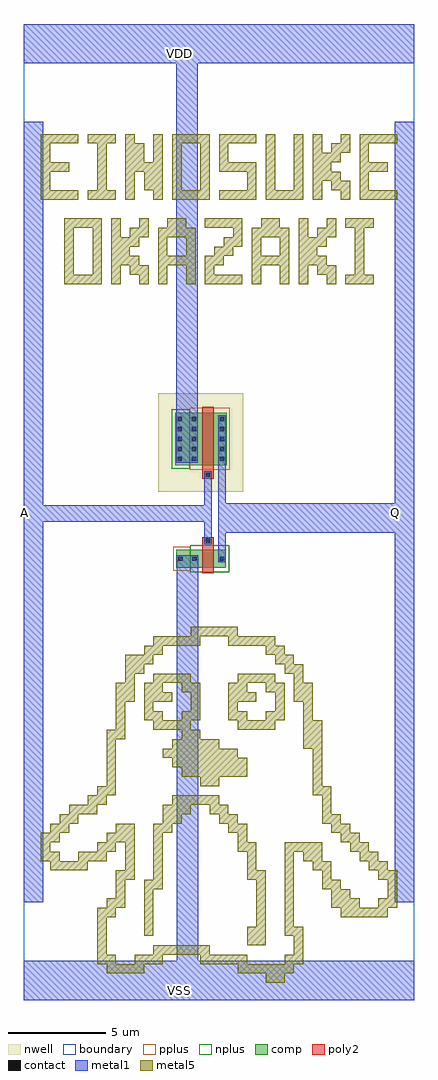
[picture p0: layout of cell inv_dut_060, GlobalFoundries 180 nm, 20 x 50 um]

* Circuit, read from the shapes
.subckt inv_dut_060 A Q VDD VSS
XM1 Q A VSS VSS nfet_03v3 w=0.9u l=0.6u
XM2 Q A VDD VDD pfet_03v3 w=2.7u l=0.6u
.ends

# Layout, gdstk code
import gdstk
lib = gdstk.Library(unit=1e-6, precision=1e-09)
def R(c, l, rs):  # rectangles x0, y0, x1, y1
    for r in rs: c.add(gdstk.rectangle(r[:2], r[2:], *l))
def A(c, l, x, y, w, h, nx, ny, dx, dy):  # array of equal rectangles
    R(c, l, [(x+i*dx, y+j*dy, x+i*dx+w, y+j*dy+h) for i in range(nx) for j in range(ny)])
def P(c, l, *ps):  # polygons
    for p in ps: c.add(gdstk.Polygon(p, *l))
boundary = (0, 0)
nwell = (21, 0)
comp = (22, 0)
poly2 = (30, 0)
pplus = (31, 0)
nplus = (32, 0)
contact = (33, 0)
metal1 = (34, 0)
metal5 = (81, 0)

inv_dut_060 = lib.new_cell('inv_dut_060')
R(inv_dut_060, boundary, [(-10,-25,10,25)])
R(inv_dut_060, nwell, [(-3.1,1.025,1.25,6.085)])
R(inv_dut_060, comp, [(-2.18,-2.845,0.35,-1.945), (-2.24,2.395,0.39,5.095)])
R(inv_dut_060, poly2, [(-0.86,-3.145,-0.26,-1.285), (-0.86,1.715,-0.26,5.395)])
R(inv_dut_060, pplus, [(-2.35,-3.015,-1.47,-1.775), (-1.51,2.155,0.56,5.335)])
R(inv_dut_060, nplus, [(-1.47,-3.085,0.52,-1.705), (-2.41,2.225,-1.51,5.265)])
A(inv_dut_060, contact, -2.12, 2.615, 0.22, 0.22, 1, 5, 0, 0.51)
A(inv_dut_060, contact, -1.39, 2.615, 0.22, 0.22, 1, 5, 0, 0.51)
A(inv_dut_060, contact, 0.05, 2.615, 0.22, 0.22, 1, 5, 0, 0.51)
R(inv_dut_060, contact, [(-2.08,-2.505,-1.86,-2.285), (-1.37,-2.505,-1.15,-2.285), (0.03,-2.505,0.25,-2.285), (-0.67,-1.575,-0.45,-1.355), (-0.67,1.795,-0.45,2.015)])
R(inv_dut_060, metal1, [(-10,-25,10,-23), (-2.16,-23,-1.07,-2.205), (-10,-20,-9,20), (9,-20,10,20), (-2.16,-2.585,-1.78,-2.205), (-1.45,-2.585,-1.07,-2.205), (-0.05,-2.585,0.33,-2.205), (-0.03,-2.205,0.35,2.535), (-0.75,-1.655,-0.37,-1.275), (-0.75,-1.275,-0.37,1.715), (0.35,-1.07,9,0.45), (-9.005,-0.5,-0.75,0.34), (-0.75,1.715,-0.37,2.095), (-2.2,2.535,-1.09,4.955), (-2.2,2.535,-1.82,4.955), (-1.47,2.535,-1.09,4.955), (-0.03,2.535,0.35,4.955), (-2.2,4.955,-1.09,23), (-10,23,10,25)])
P(inv_dut_060, metal5, [(-7.92,11.68),(-7.92,14.56),(-7.44,14.56),(-7.44,12.16),(-6.48,12.16),(-6.48,14.56),(-7.92,14.56),(-7.92,15.04),(-6,15.04),(-6,11.68)],
  [(-5.52,11.68),(-5.52,15.04),(-5.04,15.04),(-5.04,14.08),(-4.56,14.08),(-4.56,14.56),(-4.08,14.56),(-4.08,15.04),(-3.6,15.04),(-3.6,14.08),(-4.08,14.08),(-4.08,13.6),(-4.56,13.6),(-4.56,13.12),(-4.08,13.12),(-4.08,12.64),(-3.6,12.64),(-3.6,11.68),(-4.08,11.68),(-4.08,12.16),(-4.56,12.16),(-4.56,12.64),(-5.04,12.64),(-5.04,11.68)],
  [(-3.12,11.68),(-3.12,14.08),(-2.64,14.08),(-2.64,13.12),(-1.68,13.12),(-1.68,14.08),(-3.12,14.08),(-3.12,14.56),(-2.64,14.56),(-2.64,15.04),(-1.68,15.04),(-1.68,14.56),(-1.2,14.56),(-1.2,11.68),(-1.68,11.68),(-1.68,12.64),(-2.64,12.64),(-2.64,11.68)],
  [(-0.72,11.68),(-0.72,13.12),(-0.24,13.12),(-0.24,13.6),(0.24,13.6),(0.24,14.08),(0.72,14.08),(0.72,14.56),(-0.72,14.56),(-0.72,15.04),(1.2,15.04),(1.2,13.6),(0.72,13.6),(0.72,13.12),(0.24,13.12),(0.24,12.64),(-0.24,12.64),(-0.24,12.16),(1.2,12.16),(1.2,11.68)],
  [(1.68,11.68),(1.68,14.08),(2.16,14.08),(2.16,13.12),(3.12,13.12),(3.12,14.08),(1.68,14.08),(1.68,14.56),(2.16,14.56),(2.16,15.04),(3.12,15.04),(3.12,14.56),(3.6,14.56),(3.6,11.68),(3.12,11.68),(3.12,12.64),(2.16,12.64),(2.16,11.68)],
  [(4.08,11.68),(4.08,15.04),(4.56,15.04),(4.56,14.08),(5.04,14.08),(5.04,14.56),(5.52,14.56),(5.52,15.04),(6,15.04),(6,14.08),(5.52,14.08),(5.52,13.6),(5.04,13.6),(5.04,13.12),(5.52,13.12),(5.52,12.64),(6,12.64),(6,11.68),(5.52,11.68),(5.52,12.16),(5.04,12.16),(5.04,12.64),(4.56,12.64),(4.56,11.68)],
  [(6.48,11.68),(6.48,12.16),(6.96,12.16),(6.96,14.56),(6.48,14.56),(6.48,15.04),(7.92,15.04),(7.92,14.56),(7.44,14.56),(7.44,12.16),(7.92,12.16),(7.92,11.68)],
  [(-9.12,16),(-9.12,19.36),(-7.2,19.36),(-7.2,18.88),(-8.64,18.88),(-8.64,17.92),(-7.68,17.92),(-7.68,17.44),(-8.64,17.44),(-8.64,16.48),(-7.2,16.48),(-7.2,16)],
  [(-6.72,16),(-6.72,16.48),(-6.24,16.48),(-6.24,18.88),(-6.72,18.88),(-6.72,19.36),(-5.28,19.36),(-5.28,18.88),(-5.76,18.88),(-5.76,16.48),(-5.28,16.48),(-5.28,16)],
  [(-4.8,16),(-4.8,19.36),(-4.32,19.36),(-4.32,18.88),(-3.84,18.88),(-3.84,17.92),(-3.36,17.92),(-3.36,19.36),(-2.88,19.36),(-2.88,16),(-3.36,16),(-3.36,16.48),(-3.84,16.48),(-3.84,17.44),(-4.32,17.44),(-4.32,16)],
  [(-2.4,16),(-2.4,18.88),(-1.92,18.88),(-1.92,16.48),(-0.96,16.48),(-0.96,18.88),(-2.4,18.88),(-2.4,19.36),(-0.48,19.36),(-0.48,16)],
  [(0,16),(0,16.48),(1.44,16.48),(1.44,17.44),(0,17.44),(0,19.36),(1.92,19.36),(1.92,18.88),(0.48,18.88),(0.48,17.92),(1.92,17.92),(1.92,16)],
  [(2.4,16),(2.4,19.36),(2.88,19.36),(2.88,16.48),(3.84,16.48),(3.84,19.36),(4.32,19.36),(4.32,16)],
  [(4.8,16),(4.8,19.36),(5.28,19.36),(5.28,18.4),(5.76,18.4),(5.76,18.88),(6.24,18.88),(6.24,19.36),(6.72,19.36),(6.72,18.4),(6.24,18.4),(6.24,17.92),(5.76,17.92),(5.76,17.44),(6.24,17.44),(6.24,16.96),(6.72,16.96),(6.72,16),(6.24,16),(6.24,16.48),(5.76,16.48),(5.76,16.96),(5.28,16.96),(5.28,16)],
  [(7.2,16),(7.2,19.36),(9.12,19.36),(9.12,18.88),(7.68,18.88),(7.68,17.92),(8.64,17.92),(8.64,17.44),(7.68,17.44),(7.68,16.48),(9.12,16.48),(9.12,16)],
  [(1.44,-22.2),(1.44,-21.24),(1.92,-21.24),(1.92,-18.84),(1.44,-18.84),(1.44,-17.4),(0.96,-17.4),(0.96,-16.44),(0.48,-16.44),(0.48,-15.96),(0,-15.96),(0,-15.48),(-0.48,-15.48),(-0.48,-15),(-1.44,-15),(-1.44,-15.48),(-1.92,-15.48),(-1.92,-15.96),(-2.4,-15.96),(-2.4,-16.44),(-2.88,-16.44),(-2.88,-19.32),(-3.36,-19.32),(-3.36,-21.72),(-3.84,-21.72),(-3.84,-18.84),(-3.36,-18.84),(-3.36,-15.96),(-2.88,-15.96),(-2.88,-15),(-2.4,-15),(-2.4,-14.52),(0,-14.52),(0,-15),(0.48,-15),(0.48,-15.48),(0.96,-15.48),(0.96,-15.96),(1.44,-15.96),(1.44,-16.92),(1.92,-16.92),(1.92,-18.36),(2.4,-18.36),(2.4,-22.2)],
  [(-0.96,-14.04),(-0.96,-13.56),(-1.92,-13.56),(-1.92,-13.08),(-2.4,-13.08),(-2.4,-12.6),(-2.88,-12.6),(-2.88,-12.12),(-2.4,-12.12),(-2.4,-11.64),(-1.92,-11.64),(-1.92,-11.16),(-3.36,-11.16),(-3.36,-10.68),(-3.84,-10.68),(-3.84,-8.76),(-2.88,-8.76),(-2.88,-9.24),(-2.4,-9.24),(-2.4,-9.72),(-3.36,-9.72),(-3.36,-10.2),(-2.88,-10.2),(-2.88,-10.68),(-1.92,-10.68),(-1.92,-10.2),(-1.44,-10.2),(-1.44,-9.24),(-1.92,-9.24),(-1.92,-8.76),(-3.36,-8.76),(-3.36,-8.28),(-1.44,-8.28),(-1.44,-8.76),(-0.96,-8.76),(-0.96,-10.68),(-1.44,-10.68),(-1.44,-11.16),(-0.96,-11.16),(-0.96,-11.64),(0,-11.64),(0,-12.12),(0.96,-12.12),(0.96,-12.6),(1.44,-12.6),(1.44,-13.56),(0,-13.56),(0,-14.04)],
  [(0.96,-11.16),(0.96,-10.68),(0.48,-10.68),(0.48,-8.76),(1.44,-8.76),(1.44,-9.24),(1.92,-9.24),(1.92,-9.72),(0.96,-9.72),(0.96,-10.2),(1.44,-10.2),(1.44,-10.68),(2.4,-10.68),(2.4,-10.2),(2.88,-10.2),(2.88,-9.24),(2.4,-9.24),(2.4,-8.76),(0.96,-8.76),(0.96,-8.28),(2.88,-8.28),(2.88,-8.76),(3.36,-8.76),(3.36,-10.68),(2.88,-10.68),(2.88,-11.16)],
  [(2.4,-24.12),(2.4,-23.64),(0.96,-23.64),(0.96,-23.16),(-0.96,-23.16),(-0.96,-22.68),(-2.88,-22.68),(-2.88,-23.16),(-3.84,-23.16),(-3.84,-23.64),(-5.76,-23.64),(-5.76,-23.16),(-6.24,-23.16),(-6.24,-20.28),(-5.76,-20.28),(-5.76,-19.8),(-5.28,-19.8),(-5.28,-18.36),(-4.8,-18.36),(-4.8,-16.92),(-5.28,-16.92),(-5.28,-17.4),(-5.76,-17.4),(-5.76,-17.88),(-6.72,-17.88),(-6.72,-18.36),(-8.64,-18.36),(-8.64,-17.88),(-9.12,-17.88),(-9.12,-16.44),(-8.64,-16.44),(-8.64,-15.96),(-8.16,-15.96),(-8.16,-15.48),(-7.68,-15.48),(-7.68,-15),(-6.72,-15),(-6.72,-14.52),(-6.24,-14.52),(-6.24,-14.04),(-5.76,-14.04),(-5.76,-11.16),(-5.28,-11.16),(-5.28,-8.76),(-4.8,-8.76),(-4.8,-7.32),(-3.84,-7.32),(-3.84,-6.84),(-3.36,-6.84),(-3.36,-6.36),(-0.96,-6.36),(-0.96,-6.84),(-2.88,-6.84),(-2.88,-7.32),(-3.36,-7.32),(-3.36,-7.8),(-3.84,-7.8),(-3.84,-8.28),(-4.32,-8.28),(-4.32,-9.72),(-4.8,-9.72),(-4.8,-11.64),(-5.28,-11.64),(-5.28,-14.52),(-5.76,-14.52),(-5.76,-15),(-6.24,-15),(-6.24,-15.48),(-7.2,-15.48),(-7.2,-15.96),(-7.68,-15.96),(-7.68,-16.44),(-8.16,-16.44),(-8.16,-16.92),(-8.64,-16.92),(-8.64,-17.4),(-8.16,-17.4),(-8.16,-17.88),(-7.2,-17.88),(-7.2,-17.4),(-6.24,-17.4),(-6.24,-16.92),(-5.76,-16.92),(-5.76,-16.44),(-5.28,-16.44),(-5.28,-15.96),(-4.32,-15.96),(-4.32,-18.84),(-4.8,-18.84),(-4.8,-20.28),(-5.28,-20.28),(-5.28,-20.76),(-5.76,-20.76),(-5.76,-22.68),(-5.28,-22.68),(-5.28,-23.16),(-4.32,-23.16),(-4.32,-22.68),(-3.36,-22.68),(-3.36,-22.2),(-0.48,-22.2),(-0.48,-22.68),(1.44,-22.68),(1.44,-23.16),(3.36,-23.16),(3.36,-22.68),(3.84,-22.68),(3.84,-21.72),(3.36,-21.72),(3.36,-16.92),(5.28,-16.92),(5.28,-17.88),(5.76,-17.88),(5.76,-18.84),(6.24,-18.84),(6.24,-19.32),(6.72,-19.32),(6.72,-19.8),(7.2,-19.8),(7.2,-20.28),(8.16,-20.28),(8.16,-19.8),(8.64,-19.8),(8.64,-18.84),(8.16,-18.84),(8.16,-18.36),(7.68,-18.36),(7.68,-17.88),(7.2,-17.88),(7.2,-17.4),(6.72,-17.4),(6.72,-16.92),(6.24,-16.92),(6.24,-16.44),(5.76,-16.44),(5.76,-15.96),(5.28,-15.96),(5.28,-14.52),(4.8,-14.52),(4.8,-12.12),(4.32,-12.12),(4.32,-9.72),(3.84,-9.72),(3.84,-8.28),(3.36,-8.28),(3.36,-7.8),(2.88,-7.8),(2.88,-7.32),(2.4,-7.32),(2.4,-6.84),(0.48,-6.84),(0.48,-6.36),(-1.44,-6.36),(-1.44,-5.88),(0.96,-5.88),(0.96,-6.36),(2.88,-6.36),(2.88,-6.84),(3.36,-6.84),(3.36,-7.32),(3.84,-7.32),(3.84,-7.8),(4.32,-7.8),(4.32,-8.76),(4.8,-8.76),(4.8,-10.68),(5.28,-10.68),(5.28,-14.04),(5.76,-14.04),(5.76,-15.48),(6.24,-15.48),(6.24,-15.96),(6.72,-15.96),(6.72,-16.44),(7.2,-16.44),(7.2,-16.92),(7.68,-16.92),(7.68,-17.4),(8.16,-17.4),(8.16,-17.88),(8.64,-17.88),(8.64,-18.36),(9.12,-18.36),(9.12,-20.28),(8.64,-20.28),(8.64,-20.76),(6.24,-20.76),(6.24,-20.28),(5.76,-20.28),(5.76,-19.32),(5.28,-19.32),(5.28,-18.36),(4.8,-18.36),(4.8,-17.88),(4.32,-17.88),(4.32,-17.4),(3.84,-17.4),(3.84,-21.24),(4.32,-21.24),(4.32,-23.16),(3.84,-23.16),(3.84,-23.64),(3.36,-23.64),(3.36,-24.12)])
inv_dut_060.add(gdstk.Label('VDD', (-2,23.5), layer=34, texttype=10))
inv_dut_060.add(gdstk.Label('VSS', (-2,-24.5), layer=34, texttype=10))
inv_dut_060.add(gdstk.Label('A', (-9.97,0), layer=34, texttype=10))
inv_dut_060.add(gdstk.Label('Q', (9.03,0), layer=34, texttype=10))

lib.write_gds('inv_dut_060.gds')
